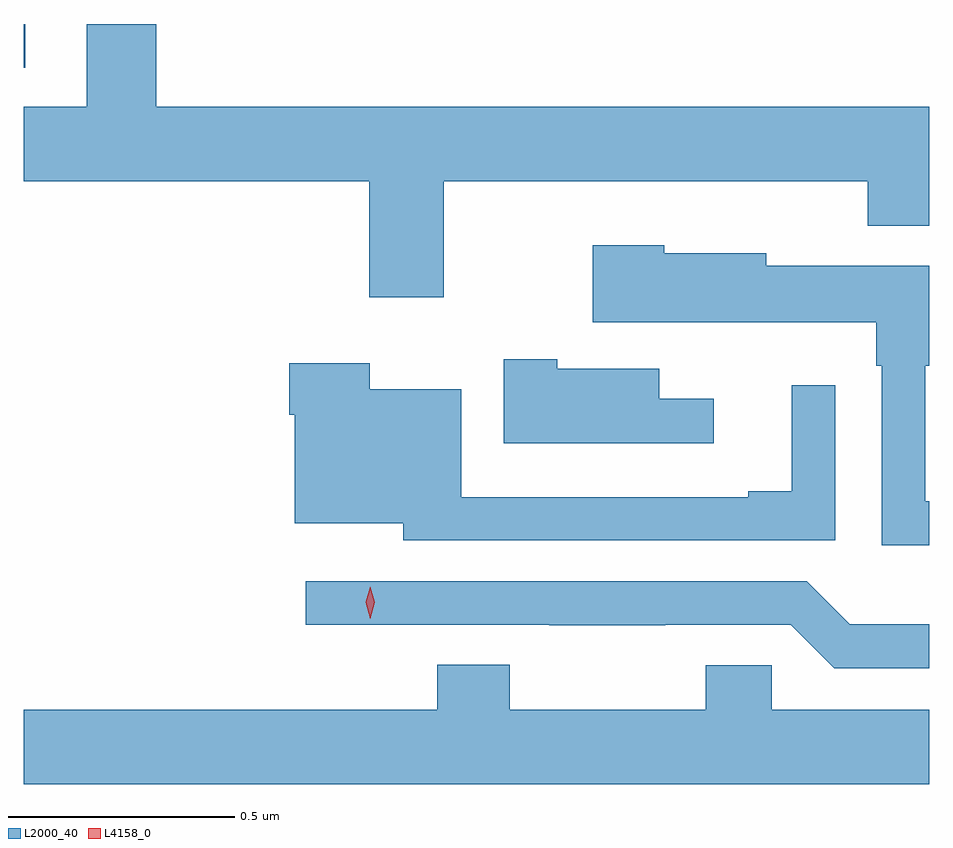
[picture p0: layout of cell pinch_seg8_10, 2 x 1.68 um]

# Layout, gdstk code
import gdstk
lib = gdstk.Library(unit=1e-6, precision=1e-09)
def R(c, l, rs):  # rectangles x0, y0, x1, y1
    for r in rs: c.add(gdstk.rectangle(r[:2], r[2:], *l))
def P(c, l, *ps):  # polygons
    for p in ps: c.add(gdstk.Polygon(p, *l))
L2000_40 = (2000, 40)
L4158_0 = (4158, 0)

pinch_seg8_10 = lib.new_cell('pinch_seg8_10')
R(pinch_seg8_10, L2000_40, [(1046.752,1147.386,1046.755,1147.483)])
P(pinch_seg8_10, L2000_40, [(1047.68,1147.136),(1048.616,1147.136),(1048.616,1147.037),(1048.752,1147.037),(1048.752,1147.3),(1047.044,1147.3),(1047.044,1147.483),(1046.891,1147.483),(1046.891,1147.3),(1046.752,1147.3),(1046.752,1147.136),(1047.515,1147.136),(1047.515,1146.879),(1047.68,1146.879)],
  [(1048.752,1146.429),(1048.743,1146.429),(1048.743,1146.728),(1048.752,1146.728),(1048.752,1146.949),(1048.392,1146.949),(1048.392,1146.976),(1048.167,1146.976),(1048.167,1146.994),(1048.009,1146.994),(1048.009,1146.824),(1048.635,1146.824),(1048.635,1146.728),(1048.647,1146.728),(1048.647,1146.332),(1048.752,1146.332)],
  [(1048.276,1146.655),(1048.156,1146.655),(1048.156,1146.721),(1047.93,1146.721),(1047.93,1146.742),(1047.812,1146.742),(1047.812,1146.557),(1048.276,1146.557)],
  [(1048.545,1146.685),(1048.448,1146.685),(1048.448,1146.451),(1048.352,1146.451),(1048.352,1146.438),(1047.718,1146.438),(1047.718,1146.676),(1047.516,1146.676),(1047.516,1146.733),(1047.338,1146.733),(1047.338,1146.62),(1047.35,1146.62),(1047.35,1146.38),(1047.59,1146.38),(1047.59,1146.342),(1048.545,1146.342)],
  [(1048.752,1146.157),(1048.577,1146.157),(1048.482,1146.252),(1047.375,1146.252),(1047.375,1146.156),(1047.913,1146.156),(1047.913,1146.155),(1048.169,1146.155),(1048.169,1146.156),(1048.446,1146.156),(1048.542,1146.06),(1048.752,1146.06)],
  [(1048.752,1145.968),(1048.404,1145.968),(1048.404,1146.066),(1048.258,1146.066),(1048.258,1145.968),(1047.825,1145.968),(1047.825,1146.067),(1047.665,1146.067),(1047.665,1145.968),(1046.752,1145.968),(1046.752,1145.804),(1048.752,1145.804)])
P(pinch_seg8_10, L4158_0, [(1047.517,1146.169),(1047.517,1146.169),(1047.507,1146.205),(1047.517,1146.24),(1047.517,1146.24),(1047.517,1146.24),(1047.527,1146.205),(1047.517,1146.169)])

lib.write_gds('pinch_seg8_10.gds')
